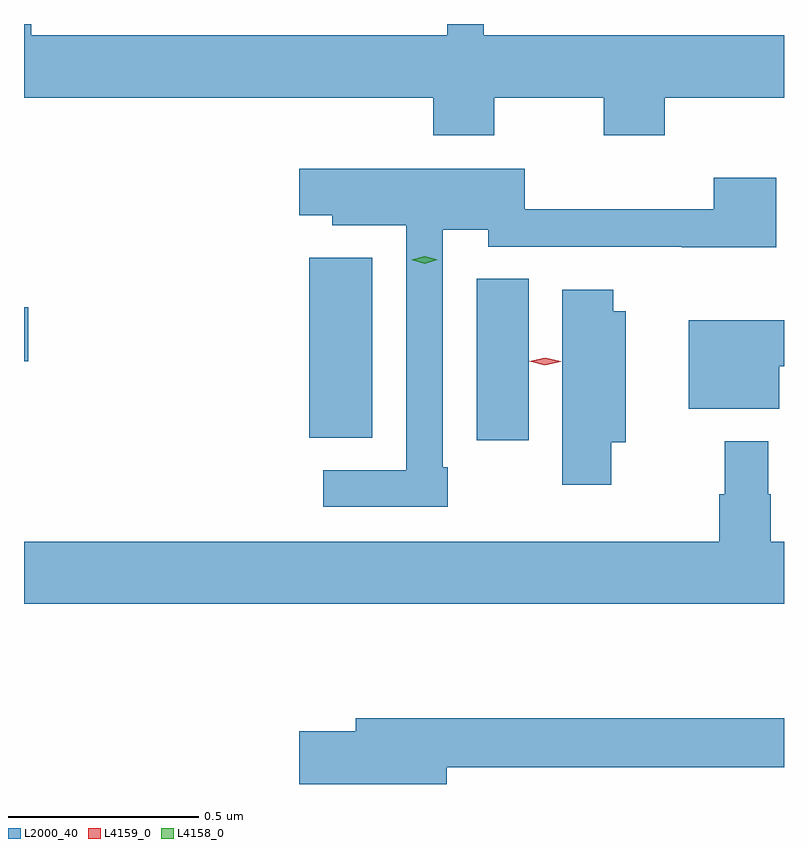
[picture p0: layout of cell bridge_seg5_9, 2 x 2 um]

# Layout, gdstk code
import gdstk
lib = gdstk.Library(unit=1e-6, precision=1e-09)
def R(c, l, rs):  # rectangles x0, y0, x1, y1
    for r in rs: c.add(gdstk.rectangle(r[:2], r[2:], *l))
def P(c, l, *ps):  # polygons
    for p in ps: c.add(gdstk.Polygon(p, *l))
L2000_40 = (2000, 40)
L4158_0 = (4158, 0)
L4159_0 = (4159, 0)

bridge_seg5_9 = lib.new_cell('bridge_seg5_9')
R(bridge_seg5_9, L2000_40, [(904.619,839.874,904.756,840.299), (904.178,839.881,904.345,840.355), (903.428,840.082,903.439,840.224)])
P(bridge_seg5_9, L2000_40, [(904.665,840.776),(904.954,840.776),(904.954,840.677),(905.114,840.677),(905.114,840.776),(905.428,840.776),(905.428,840.94),(904.638,840.94),(904.638,840.97),(904.542,840.97),(904.542,840.94),(903.447,840.94),(903.447,840.97),(903.428,840.97),(903.428,840.776),(904.505,840.776),(904.505,840.677),(904.665,840.677)],
  [(904.543,839.803),(904.53,839.803),(904.53,840.428),(904.65,840.428),(904.65,840.384),(905.159,840.384),(905.159,840.383),(905.408,840.383),(905.408,840.565),(905.243,840.565),(905.243,840.482),(904.746,840.482),(904.746,840.589),(904.152,840.589),(904.152,840.467),(904.239,840.467),(904.239,840.44),(904.434,840.44),(904.434,839.796),(904.215,839.796),(904.215,839.7),(904.543,839.7)],
  [(904.974,839.87),(905.011,839.87),(905.011,840.214),(904.979,840.214),(904.979,840.271),(904.844,840.271),(904.844,839.757),(904.974,839.757)],
  [(905.416,840.069),(905.428,840.069),(905.428,840.19),(905.177,840.19),(905.177,839.957),(905.416,839.957)],
  [(905.428,839.608),(905.393,839.608),(905.393,839.732),(905.386,839.732),(905.386,839.872),(905.272,839.872),(905.272,839.732),(905.257,839.732),(905.257,839.608),(903.428,839.608),(903.428,839.444),(905.428,839.444)],
  [(904.54,839.014),(905.428,839.014),(905.428,839.143),(904.301,839.143),(904.301,839.109),(904.152,839.109),(904.152,838.97),(904.54,838.97)])
P(bridge_seg5_9, L4158_0, [(904.482,840.339),(904.447,840.349),(904.447,840.349),(904.447,840.349),(904.482,840.359),(904.517,840.349),(904.517,840.349),(904.517,840.349)])
P(bridge_seg5_9, L4159_0, [(904.799,840.072),(904.758,840.082),(904.758,840.083),(904.758,840.083),(904.8,840.092),(904.84,840.082),(904.84,840.082),(904.84,840.081)])

lib.write_gds('bridge_seg5_9.gds')
